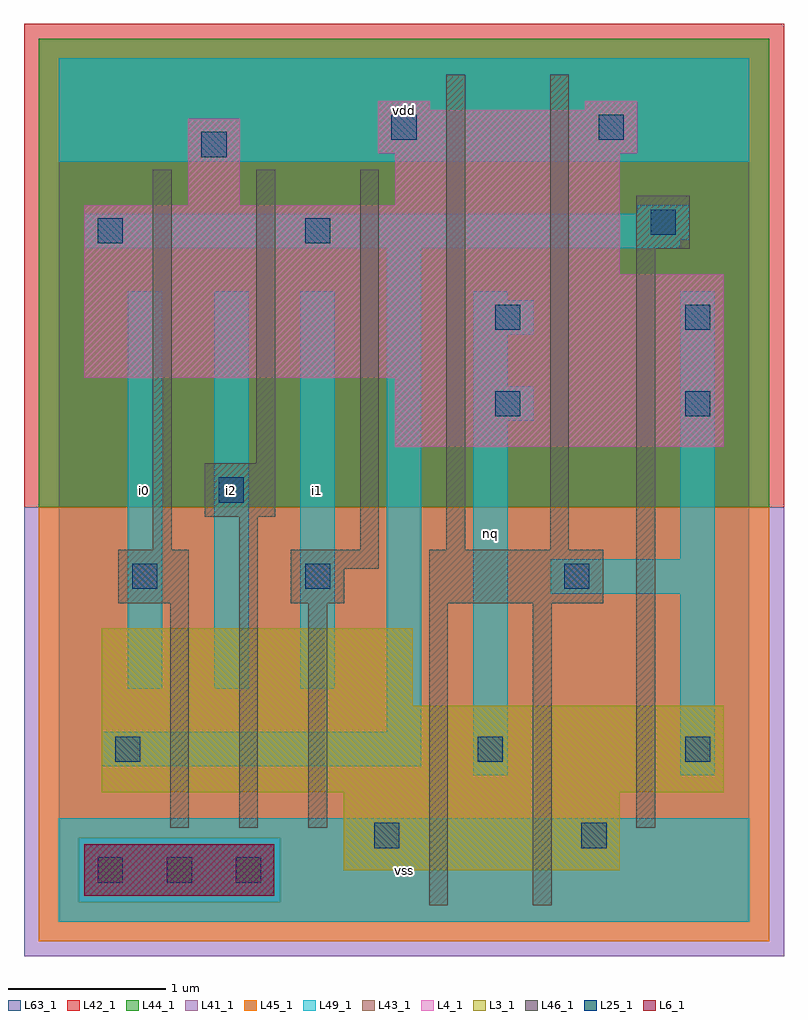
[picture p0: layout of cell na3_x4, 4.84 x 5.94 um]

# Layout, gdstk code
import gdstk
lib = gdstk.Library(unit=1e-6, precision=1e-09)
def R(c, l, rs):  # rectangles x0, y0, x1, y1
    for r in rs: c.add(gdstk.rectangle(r[:2], r[2:], *l))
def A(c, l, x, y, w, h, nx, ny, dx, dy):  # array of equal rectangles
    R(c, l, [(x+i*dx, y+j*dy, x+i*dx+w, y+j*dy+h) for i in range(nx) for j in range(ny)])
L3_1 = (3, 1)
L4_1 = (4, 1)
L6_1 = (6, 1)
L25_1 = (25, 1)
L41_1 = (41, 1)
L42_1 = (42, 1)
L43_1 = (43, 1)
L44_1 = (44, 1)
L45_1 = (45, 1)
L46_1 = (46, 1)
L49_1 = (49, 1)
L63_1 = (63, 1)

na3_x4 = lib.new_cell('na3_x4')
R(na3_x4, L3_1, [(1.815,0.33,3.575,0.825), (0.275,0.825,4.235,1.375), (0.275,1.375,2.255,1.87)])
R(na3_x4, L4_1, [(2.145,3.025,4.235,3.465), (0.165,3.465,4.235,4.125), (0.165,4.125,3.575,4.565), (0.825,4.565,1.155,5.115), (2.145,4.565,3.575,4.895), (2.035,4.895,3.685,5.17), (2.035,5.17,2.365,5.225), (3.355,5.17,3.685,5.225)])
R(na3_x4, L6_1, [(0.165,0.165,1.375,0.495)])
A(na3_x4, L25_1, 0.25, 0.25, 0.16, 0.16, 3, 1, 0.44, 0)
R(na3_x4, L25_1, [(2.01,0.47,2.17,0.63), (3.33,0.47,3.49,0.63), (0.36,1.02,0.52,1.18), (2.67,1.02,2.83,1.18), (3.99,1.02,4.15,1.18), (0.47,2.12,0.63,2.28), (1.57,2.12,1.73,2.28), (3.22,2.12,3.38,2.28), (1.02,2.67,1.18,2.83), (2.78,3.22,2.94,3.38), (3.99,3.22,4.15,3.38), (2.78,3.77,2.94,3.93), (3.99,3.77,4.15,3.93), (0.25,4.32,0.41,4.48), (1.57,4.32,1.73,4.48), (3.77,4.375,3.93,4.535), (0.91,4.87,1.07,5.03), (2.12,4.98,2.28,5.14), (3.44,4.98,3.6,5.14)])
R(na3_x4, L41_1, [(-0.22,-0.22,4.62,2.64)])
R(na3_x4, L42_1, [(-0.22,2.64,4.62,5.72)])
R(na3_x4, L43_1, [(0.165,0.165,1.375,0.495), (1.815,0.33,3.575,0.825), (0.275,0.825,4.235,1.375), (0.275,1.375,2.255,1.87), (2.145,3.025,4.235,3.465), (0.165,3.465,4.235,4.125), (0.165,4.125,3.575,4.565), (0.825,4.565,1.155,5.115), (2.145,4.565,3.575,4.895), (2.035,4.895,3.685,5.17), (2.035,5.17,2.365,5.225), (3.355,5.17,3.685,5.225)])
R(na3_x4, L44_1, [(0.125,0.125,1.415,0.535), (-0.125,2.64,4.525,5.625)])
R(na3_x4, L45_1, [(-0.125,-0.125,4.525,0.125), (-0.125,0.125,0.125,0.535), (1.415,0.125,4.525,0.535), (-0.125,0.535,4.525,2.64)])
R(na3_x4, L46_1, [(2.36,0.105,2.48,2.03), (3.02,0.105,3.14,2.03), (0.71,0.6,0.83,2.03), (1.15,0.6,1.27,2.58), (1.59,0.6,1.71,2.03), (3.68,0.6,3.8,4.285), (0.38,2.03,0.83,2.37), (1.48,2.03,1.82,2.25), (2.36,2.03,3.47,2.37), (1.48,2.25,2.04,2.37), (0.6,2.37,0.72,4.79), (1.92,2.37,2.04,4.79), (2.47,2.37,2.59,5.395), (3.13,2.37,3.25,5.395), (0.93,2.58,1.38,2.92), (1.26,2.92,1.38,4.79), (3.68,4.285,4.02,4.625)])
A(na3_x4, L49_1, 0.44, 1.485, 0.22, 2.53, 3, 1, 0.55, 0)
R(na3_x4, L49_1, [(0,0,4.4,0.66), (2.64,0.935,2.86,3.19), (3.96,0.935,4.18,2.09), (0.275,0.99,2.31,1.21), (2.09,1.21,2.31,4.29), (3.135,2.09,4.18,2.31), (3.96,2.31,4.18,4.015), (2.64,3.19,3.025,3.41), (2.64,3.41,2.86,3.74), (2.64,3.74,3.025,3.96), (2.64,3.96,2.86,4.015), (0.165,4.29,3.96,4.345), (0.165,4.345,4.015,4.51), (3.685,4.51,4.015,4.565), (0,4.84,4.4,5.5)])
R(na3_x4, L63_1, [(0,0,4.4,5.5)])
na3_x4.add(gdstk.Label('i0', (0.55,2.75), layer=49, texttype=1))
na3_x4.add(gdstk.Label('i1', (1.65,2.75), layer=49, texttype=1))
na3_x4.add(gdstk.Label('i2', (1.1,2.75), layer=49, texttype=1))
na3_x4.add(gdstk.Label('vss', (2.2,0.33), layer=49, texttype=1))
na3_x4.add(gdstk.Label('nq', (2.75,2.475), layer=49, texttype=1))
na3_x4.add(gdstk.Label('vdd', (2.2,5.17), layer=49, texttype=1))

lib.write_gds('na3_x4.gds')
